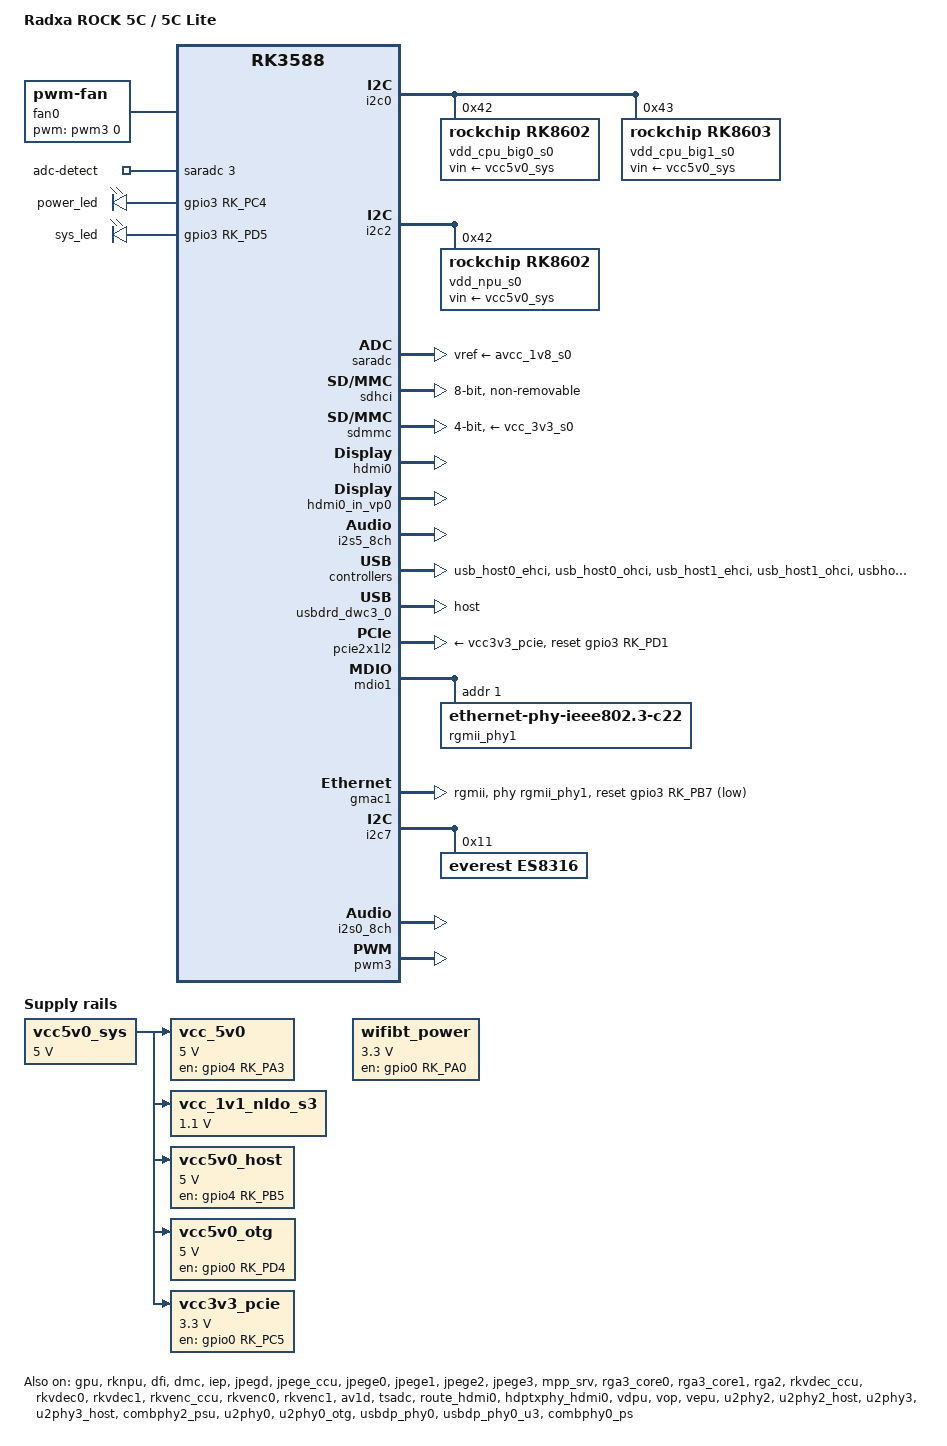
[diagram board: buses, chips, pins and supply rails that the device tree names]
// SPDX-License-Identifier: (GPL-2.0+ OR MIT)
/*
 * Copyright (c) 2022 Rockchip Electronics Co., Ltd.
 * Copyright (c) 2024 Radxa Limited
 *
 */

/dts-v1/;

#include <dt-bindings/gpio/gpio.h>
#include <dt-bindings/leds/common.h>
#include <dt-bindings/pwm/pwm.h>
#include <dt-bindings/pinctrl/rockchip.h>
#include <dt-bindings/input/rk-input.h>
#include <dt-bindings/display/drm_mipi_dsi.h>
#include <dt-bindings/display/rockchip_vop.h>
#include <dt-bindings/sensor-dev.h>
#include "rk3588s.dtsi"
#include "rk3588-rk806-single.dtsi"
#include "rk3588-linux.dtsi"

/ {
	model = "Radxa ROCK 5C / 5C Lite";
	compatible = "radxa,rock-5c", "rockchip,rk3588";
	
	aliases {
		led-boot = &sys_led;
		led-failsafe = &sys_led;
		led-running = &sys_led;
		led-upgrade = &sys_led;
	};

	/delete-node/ chosen;

	fan0: pwm-fan {
		compatible = "pwm-fan";
		#cooling-cells = <2>;
		cooling-levels = <0 64 128 192 255>;
		pwms = <&pwm3 0 10000 0>;
	};

	vcc5v0_sys: vcc5v0-sys {
		compatible = "regulator-fixed";
		regulator-name = "vcc5v0_sys";
		regulator-always-on;
		regulator-boot-on;
		regulator-min-microvolt = <5000000>;
		regulator-max-microvolt = <5000000>;
	};

	vcc_5v0: vcc-5v0 {
		compatible = "regulator-fixed";
		regulator-name = "vcc_5v0";
		regulator-min-microvolt = <5000000>;
		regulator-max-microvolt = <5000000>;
		regulator-boot-on;
		regulator-always-on;
		enable-active-high;
		gpio = <&gpio4 RK_PA3 GPIO_ACTIVE_HIGH>;
		pinctrl-names = "default";
		pinctrl-0 = <&vcc_5v0_en>;
		vin-supply = <&vcc5v0_sys>;
	};

	wifibt_power: wifibt-power {
		compatible = "regulator-fixed";
		regulator-name = "wifibt_power";
		regulator-always-on;
		regulator-boot-on;
		regulator-min-microvolt = <3300000>;
		regulator-max-microvolt = <3300000>;
		enable-active-high;
		gpio = <&gpio0 RK_PA0 GPIO_ACTIVE_HIGH>;
		pinctrl-names = "default";
		pinctrl-0 = <&wifibt_en>;
	};

	vcc_1v1_nldo_s3: vcc-1v1-nldo-s3 {
		compatible = "regulator-fixed";
		regulator-name = "vcc_1v1_nldo_s3";
		regulator-always-on;
		regulator-boot-on;
		regulator-min-microvolt = <1100000>;
		regulator-max-microvolt = <1100000>;
		vin-supply = <&vcc5v0_sys>;
	};

	hdmi0_sound: hdmi0-sound {
		status = "okay";
		compatible = "rockchip,hdmi";
		rockchip,mclk-fs = <128>;
		rockchip,card-name = "rockchip-hdmi0";
		rockchip,cpu = <&i2s5_8ch>;
		rockchip,codec = <&hdmi0>;
		rockchip,jack-det;
	};

	es8316_sound: es8316-sound {
		status = "okay";
		compatible = "rockchip,multicodecs-card";
		rockchip,card-name = "rockchip-es8316";
		rockchip,format = "i2s";
		rockchip,mclk-fs = <256>;
		rockchip,cpu = <&i2s0_8ch >;
		rockchip,codec = <&es8316>;
		io-channels = <&saradc 3>;
		io-channel-names = "adc-detect";
		keyup-threshold-microvolt = <1800000>;
		play-pause-key {
			label = "playpause";
			linux,code = <164>;
			press-threshold-microvolt = <2000>;
		};
	};

	vcc5v0_host: vcc5v0-host-regulator {
		compatible = "regulator-fixed";
		regulator-name = "vcc5v0_host";
		regulator-boot-on;
		regulator-always-on;
		regulator-min-microvolt = <5000000>;
		regulator-max-microvolt = <5000000>;
		enable-active-high;
		gpio = <&gpio4 RK_PB5 GPIO_ACTIVE_HIGH>;
		pinctrl-names = "default";
		pinctrl-0 = <&vcc5v0_host_en>;
		vin-supply = <&vcc5v0_sys>;
	};

	vcc5v0_otg: vcc5v0-otg-regulator {
		compatible = "regulator-fixed";
		regulator-name = "vcc5v0_otg";
		regulator-min-microvolt = <5000000>;
		regulator-max-microvolt = <5000000>;
		enable-active-high;
		gpio = <&gpio0 RK_PD4 GPIO_ACTIVE_HIGH>;
		pinctrl-names = "default";
		pinctrl-0 = <&vcc5v0_otg_en>;
		vin-supply = <&vcc5v0_sys>;
	};

	vcc3v3_pcie: vcc3v3-pcie {
		compatible = "regulator-fixed";
		regulator-name = "vcc3v3_pcie";
		regulator-min-microvolt = <3300000>;
		regulator-max-microvolt = <3300000>;
		startup-delay-us = <5000>;
		enable-active-high;
		gpio = <&gpio0 RK_PC5 GPIO_ACTIVE_HIGH>;
		vin-supply = <&vcc5v0_sys>;
	};

	gpio-leds {
		compatible = "gpio-leds";
		pinctrl-names = "default";

		power_led: led-0 {
			gpios = <&gpio3 RK_PC4 GPIO_ACTIVE_HIGH>;
			linux,default-trigger = "default-on";
			default-state = "on";
		};

		sys_led: led-1 {
			gpios = <&gpio3 RK_PD5 GPIO_ACTIVE_HIGH>;
			linux,default-trigger = "heartbeat";
		};
	};
};

&i2c0 {
	status = "okay";
	pinctrl-names = "default";
	pinctrl-0 = <&i2c0m2_xfer>;

	vdd_cpu_big0_s0: vdd_cpu_big0_mem_s0: rk8602@42 {
		compatible = "rockchip,rk8602";
		reg = <0x42>;
		vin-supply = <&vcc5v0_sys>;
		regulator-compatible = "rk860x-reg";
		regulator-name = "vdd_cpu_big0_s0";
		regulator-min-microvolt = <550000>;
		regulator-max-microvolt = <1050000>;
		regulator-ramp-delay = <2300>;
		rockchip,suspend-voltage-selector = <1>;
		regulator-boot-on;
		regulator-always-on;
		regulator-state-mem {
			regulator-off-in-suspend;
		};
	};

	vdd_cpu_big1_s0: vdd_cpu_big1_mem_s0: rk8603@43 {
		compatible = "rockchip,rk8603";
		reg = <0x43>;
		vin-supply = <&vcc5v0_sys>;
		regulator-compatible = "rk860x-reg";
		regulator-name = "vdd_cpu_big1_s0";
		regulator-min-microvolt = <550000>;
		regulator-max-microvolt = <1050000>;
		regulator-ramp-delay = <2300>;
		rockchip,suspend-voltage-selector = <1>;
		regulator-boot-on;
		regulator-always-on;
		regulator-state-mem {
			regulator-off-in-suspend;
		};
	};
};

&i2c2 {
	status = "okay";
	pinctrl-names = "default";
	pinctrl-0 = <&i2c2m0_xfer>;

	vdd_npu_s0: vdd_npu_mem_s0: rk8602@42 {
		compatible = "rockchip,rk8602";
		reg = <0x42>;
		vin-supply = <&vcc5v0_sys>;
		regulator-compatible = "rk860x-reg";
		regulator-name = "vdd_npu_s0";
		regulator-min-microvolt = <550000>;
		regulator-max-microvolt = <950000>;
		regulator-ramp-delay = <2300>;
		rockchip,suspend-voltage-selector = <1>;
		regulator-boot-on;
		regulator-always-on;
		regulator-state-mem {
			regulator-off-in-suspend;
		};
	};
};

/* CPU */

&cpu_l0 {
	cpu-supply = <&vdd_cpu_lit_s0>;
	mem-supply = <&vdd_cpu_lit_mem_s0>;
};

&cpu_b0 {
	cpu-supply = <&vdd_cpu_big0_s0>;
	mem-supply = <&vdd_cpu_big0_mem_s0>;
};

&cpu_b2 {
	cpu-supply = <&vdd_cpu_big1_s0>;
	mem-supply = <&vdd_cpu_big1_mem_s0>;
};

/* GPU */

&gpu {
	mali-supply = <&vdd_gpu_s0>;
	mem-supply = <&vdd_gpu_mem_s0>;
	status = "okay";
};

/* NPU */

&rknpu {
	rknpu-supply = <&vdd_npu_s0>;
	mem-supply = <&vdd_npu_mem_s0>;
	status = "okay";
};

&dfi {
	status = "okay";
};

&dmc {
	status = "okay";
	center-supply = <&vdd_ddr_s0>;
	mem-supply = <&vdd_log_s0>;
};

&rknpu_mmu {
	status = "okay";
};

&iep {
	status = "okay";
};

&iep_mmu {
	status = "okay";
};

&jpegd {
	status = "okay";
};

&jpegd_mmu {
	status = "okay";
};

&jpege_ccu {
	status = "okay";
};

&jpege0 {
	status = "okay";
};

&jpege0_mmu {
	status = "okay";
};

&jpege1 {
	status = "okay";
};

&jpege1_mmu {
	status = "okay";
};

&jpege2 {
	status = "okay";
};

&jpege2_mmu {
	status = "okay";
};

&jpege3 {
	status = "okay";
};

&jpege3_mmu {
	status = "okay";
};

&mpp_srv {
	status = "okay";
};

&rga3_core0 {
	status = "okay";
};

&rga3_0_mmu {
	status = "okay";
};

&rga3_core1 {
	status = "okay";
};

&rga3_1_mmu {
	status = "okay";
};

&rga2 {
	status = "okay";
};

&rkvdec_ccu {
	status = "okay";
};

&rkvdec0 {
	status = "okay";
};

&rkvdec0_mmu {
	status = "okay";
};

&rkvdec1 {
	status = "okay";
};

&rkvdec1_mmu {
	status = "okay";
};

&rkvenc_ccu {
	status = "okay";
};

&rkvenc0 {
	status = "okay";
};

&rkvenc0_mmu {
	status = "okay";
};

&rkvenc1 {
	status = "okay";
};

&rkvenc1_mmu {
	status = "okay";
};

&av1d {
	status = "okay";
};

&av1d_mmu {
	status = "okay";
};

&saradc {
	status = "okay";
	vref-supply = <&avcc_1v8_s0>;
};

/* Storage */
/* eMMC */

&sdhci {
	bus-width = <8>;
	no-sdio;
	no-sd;
	non-removable;
	max-frequency = <200000000>;
	mmc-hs200-1_8v;
	mmc-hs400-1_8v;
	mmc-hs400-enhanced-strobe;
	status = "okay";
};

/* SD */

&sdmmc {
	max-frequency = <200000000>;
	no-sdio;
	no-mmc;
	bus-width = <4>;
	cap-mmc-highspeed;
	cap-sd-highspeed;
	disable-wp;
	sd-uhs-sdr104;
	vmmc-supply = <&vcc_3v3_s0>;
	vqmmc-supply = <&vccio_sd_s0>;
	pinctrl-names = "default";
	pinctrl-0 = <&sdmmc_bus4 &sdmmc_clk &sdmmc_cmd &sdmmc_det>;
	status = "okay";
};

/* ADC */

&tsadc {
	status = "okay";
};

/* HDMI */

&hdmi0 {
	status = "okay";
	cec-enable = "true";
	enable-gpios = <&gpio4 RK_PB6 GPIO_ACTIVE_HIGH>;
	pinctrl-names = "default";
	pinctrl-0 = <&hdmim0_tx0_cec &hdmim1_tx0_hpd &hdmim0_tx0_scl &hdmim0_tx0_sda>;
};

&hdmi0_in_vp0 {
	status = "okay";
};

&route_hdmi0 {
	status = "okay";
};

&hdptxphy_hdmi0 {
	status = "okay";
};

&i2s5_8ch {
	status = "okay";
};

&vdpu {
	status = "okay";
};

&vdpu_mmu {
	status = "okay";
};

/* Video Ports */

&vop {
	status = "okay";
};

&vop_mmu {
	status = "okay";
};

&vepu {
	status = "okay";
};

/* vp0 & vp1 splice for 8K output */
&vp0 {
	rockchip,plane-mask = <(1 << ROCKCHIP_VOP2_CLUSTER0 | 1 << ROCKCHIP_VOP2_ESMART0)>;
	rockchip,primary-plane = <ROCKCHIP_VOP2_CLUSTER0>;
	cursor-win-id = <ROCKCHIP_VOP2_ESMART0>;
};

&vp1 {
	rockchip,plane-mask = <(1 << ROCKCHIP_VOP2_CLUSTER1 | 1 << ROCKCHIP_VOP2_ESMART1)>;
	rockchip,primary-plane = <ROCKCHIP_VOP2_CLUSTER1>;
	cursor-win-id = <ROCKCHIP_VOP2_ESMART1>;
};

&vp2 {
	rockchip,plane-mask = <(1 << ROCKCHIP_VOP2_CLUSTER2 | 1 << ROCKCHIP_VOP2_ESMART2)>;
	rockchip,primary-plane = <ROCKCHIP_VOP2_CLUSTER2>;
	cursor-win-id = <ROCKCHIP_VOP2_ESMART2>;
};

&vp3 {
	rockchip,plane-mask = <(1 << ROCKCHIP_VOP2_CLUSTER3 | 1 << ROCKCHIP_VOP2_ESMART3)>;
	rockchip,primary-plane = <ROCKCHIP_VOP2_CLUSTER3>;
	cursor-win-id = <ROCKCHIP_VOP2_ESMART3>;
};

&display_subsystem {
	clocks = <&hdptxphy_hdmi_clk0>;
	clock-names = "hdmi0_phy_pll";
};

&hdptxphy_hdmi_clk0 {
	status = "okay";
};

/* USB */

&usb_host0_ehci {
	status = "okay";
};

&usb_host0_ohci {
	status = "okay";
};

&u2phy2 {
	status = "okay";
};

&u2phy2_host {
	status = "okay";
	phy-supply = <&vcc5v0_host>;
};

&usb_host1_ehci {
	status = "okay";
};

&usb_host1_ohci {
	status = "okay";
};

&u2phy3 {
	status = "okay";
};

&u2phy3_host {
	phy-supply = <&vcc5v0_host>;
	status = "okay";
};

&usbhost3_0 {
	status = "okay";
};

&usbhost_dwc3_0 {
	status = "okay";
};

&combphy2_psu {
	status = "okay";
};

&u2phy0 {
	status = "okay";
};

&u2phy0_otg {
	status = "okay";
	vbus-supply = <&vcc5v0_otg>;
};

&usbdrd3_0 {
	status = "okay";
};

&usbdrd_dwc3_0 {
	dr_mode = "host";
	status = "okay";
};

&usbdp_phy0 {
	status = "okay";
};

&usbdp_phy0_u3 {
	status = "okay";
};

/* PCIe */

&combphy0_ps {
	status = "okay";
};

&pcie2x1l2 {
	status = "okay";
	reset-gpios = <&gpio3 RK_PD1 GPIO_ACTIVE_HIGH>;
	vpcie3v3-supply = <&vcc3v3_pcie>;
};

/* Ethernet */

&mdio1 {
	rgmii_phy1: phy@1 {
		compatible = "ethernet-phy-ieee802.3-c22";
		reg = <0x1>;
	};
};

&gmac1 {
	status = "okay";
	phy-mode = "rgmii";
	clock_in_out = "output";

	snps,reset-gpio = <&gpio3 RK_PB7 GPIO_ACTIVE_LOW>;
	snps,reset-active-low;
	// Reset time is 20ms, 100ms for rtl8211f
	snps,reset-delays-us = <0 20000 100000>;

	pinctrl-names = "default";
	pinctrl-0 = <&gmac1_miim
		     &gmac1_tx_bus2
		     &gmac1_rx_bus2
		     &gmac1_rgmii_clk
		     &gmac1_rgmii_bus>;

	tx_delay = <0x3a>;
	rx_delay = <0x3e>;

	phy-handle = <&rgmii_phy1>;
};

/* I2C */

&i2c7 {
	status = "okay";

	es8316: es8316@11 {
		compatible = "everest,es8316";
		reg = <0x11>;
		clocks = <&mclkout_i2s0>;
		clock-names = "mclk";
		assigned-clocks = <&mclkout_i2s0>;
		assigned-clock-rates = <12288000>;
		pinctrl-names = "default";
		pinctrl-0 = <&i2s0_mclk>;
		#sound-dai-cells = <0>;
	};
};

&i2s0_8ch {
	status = "okay";
	rockchip,playback-channels = <2>;
	rockchip,capture-channels = <2>;
	#sound-dai-cells = <0>;
	pinctrl-names = "default";
	pinctrl-0 = <&i2s0_lrck
			 &i2s0_sclk
			 &i2s0_sdi0
			 &i2s0_sdo0>;
};

&pwm3 {
	status = "okay";
	pinctrl-0 = <&pwm3m1_pins>;
};

&threshold {
	temperature = <60000>;
};

&soc_thermal {
	sustainable-power = <5000>; /* milliwatts */
	cooling-maps {
		map4 {
			trip = <&target>;
			cooling-device =
				<&fan0 THERMAL_NO_LIMIT THERMAL_NO_LIMIT>;
			contribution = <8192>;
		};
		map5 {
			trip = <&threshold>;
			cooling-device =
				<&fan0 THERMAL_NO_LIMIT THERMAL_NO_LIMIT>;
			contribution = <8192>;
		};
	};
};

&rockchip_suspend {
	compatible = "rockchip,pm-rk3588";
	status = "okay";
	rockchip,sleep-debug-en = <1>;
	rockchip,sleep-mode-config = <
		(0
		| RKPM_SLP_ARMOFF_DDRPD
		)
	>;
	rockchip,wakeup-config = <
		(0
		| RKPM_GPIO_WKUP_EN
		| RKPM_USB_WKUP_EN
		)
	>;
};

&avdd_0v75_s0 {
	regulator-state-mem {
		regulator-on-in-suspend;
		regulator-suspend-microvolt = <837500>;
	};
};

&avcc_1v8_s0 {
	regulator-state-mem {
		regulator-on-in-suspend;
		regulator-suspend-microvolt = <1800000>;
	};
};

&vcc_1v8_s0 {
	regulator-state-mem {
		regulator-on-in-suspend;
		regulator-suspend-microvolt = <1800000>;
	};
};

&vcc_3v3_s0 {
	regulator-state-mem {
		regulator-on-in-suspend;
		regulator-suspend-microvolt = <3300000>;
	};
};

&vdd_log_s0 {
	regulator-state-mem {
		regulator-on-in-suspend;
		regulator-suspend-microvolt = <750000>;
	};
};

&vdd_ddr_pll_s0 {
	regulator-state-mem {
		regulator-on-in-suspend;
		regulator-suspend-microvolt = <850000>;
	};
};

&pinctrl {

	power {
		vcc_5v0_en: vcc-5v0-en {
			rockchip,pins = <4 RK_PA3 RK_FUNC_GPIO &pcfg_pull_none>;
		};
	};

	usb {
		vcc5v0_host_en: vcc5v0-host-en {
			rockchip,pins = <4 RK_PB5 RK_FUNC_GPIO &pcfg_pull_none>;
		};

		vcc5v0_otg_en: vcc5v0-otg-en {
			rockchip,pins = <0 RK_PD4 RK_FUNC_GPIO &pcfg_pull_none>;
		};
	};

	wifibt {
		wifibt_en: wifibit-en {
			rockchip,pins = <0 RK_PA0 RK_FUNC_GPIO &pcfg_pull_up>;
		};
	};
};

&gpio0 {
	gpio-line-names =
		/* GPIO0_A0-A3 */
		"", "", "", "",
		/* GPIO0_A4-A7 */
		"", "", "", "",

		/* GPIO0_B0-B3 */
		"", "", "", "",
		/* GPIO0_B4-B7 */
		"", "PIN_8", "PIN_10", "",

		/* GPIO0_C0-C3 */
		"", "", "", "",
		/* GPIO0_C4-C7 */
		"", "", "", "PIN_27",

		/* GPIO0_D0-D3 */
		"PIN_28", "", "", "",
		/* GPIO0_D4-D7 */
		"", "", "", "";
};

&gpio1 {
	gpio-line-names =
		/* GPIO1_A0-A3 */
		"PIN_21", "PIN_19", "PIN_23", "PIN_24",
		/* GPIO1_A4-A7 */
		"PIN_26", "PIN_16", "", "",

		/* GPIO1_B0-B3 */
		"PIN_18", "PIN_31", "PIN_29", "PIN_7",
		/* GPIO1_B4-B7 */
		"PIN_33", "PIN_22", "", "",

		/* GPIO1_C0-C3 */
		"", "", "", "",
		/* GPIO1_C4-C7 */
		"", "", "", "",

		/* GPIO1_D0-D3 */
		"", "", "", "",
		/* GPIO1_D4-D7 */
		"", "", "PIN_5", "PIN_3";
};

&gpio2 {
	gpio-line-names =
		/* GPIO2_A0-A3 */
		"", "", "", "",
		/* GPIO2_A4-A7 */
		"", "", "", "",

		/* GPIO2_B0-B3 */
		"", "", "", "",
		/* GPIO2_B4-B7 */
		"", "", "", "",

		/* GPIO2_C0-C3 */
		"", "", "", "",
		/* GPIO2_C4-C7 */
		"", "", "", "",

		/* GPIO2_D0-D3 */
		"", "", "", "",
		/* GPIO2_D4-D7 */
		"", "", "", "";
};

&gpio3 {
	gpio-line-names =
		/* GPIO3_A0-A3 */
		"", "", "", "",
		/* GPIO3_A4-A7 */
		"", "", "", "",

		/* GPIO3_B0-B3 */
		"", "", "", "",
		/* GPIO3_B4-B7 */
		"", "", "", "",

		/* GPIO3_C0-C3 */
		"", "", "", "",
		/* GPIO3_C4-C7 */
		"", "", "", "",

		/* GPIO3_D0-D3 */
		"", "", "", "",
		/* GPIO3_D4-D7 */
		"", "", "", "";
};

&gpio4 {
	gpio-line-names =
		/* GPIO4_A0-A3 */
		"PIN_35", "PIN_12", "PIN_36", "",
		/* GPIO4_A4-A7 */
		"", "PIN_38", "", "",

		/* GPIO4_B0-B3 */
		"PIN_32", "PIN_40", "PIN_13", "PIN_11",
		/* GPIO4_B4-B7 */
		"PIN_15", "", "", "",

		/* GPIO4_C0-C3 */
		"", "", "", "",
		/* GPIO4_C4-C7 */
		"", "", "", "",

		/* GPIO4_D0-D3 */
		"", "", "", "",
		/* GPIO4_D4-D7 */
		"", "", "", "";
};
